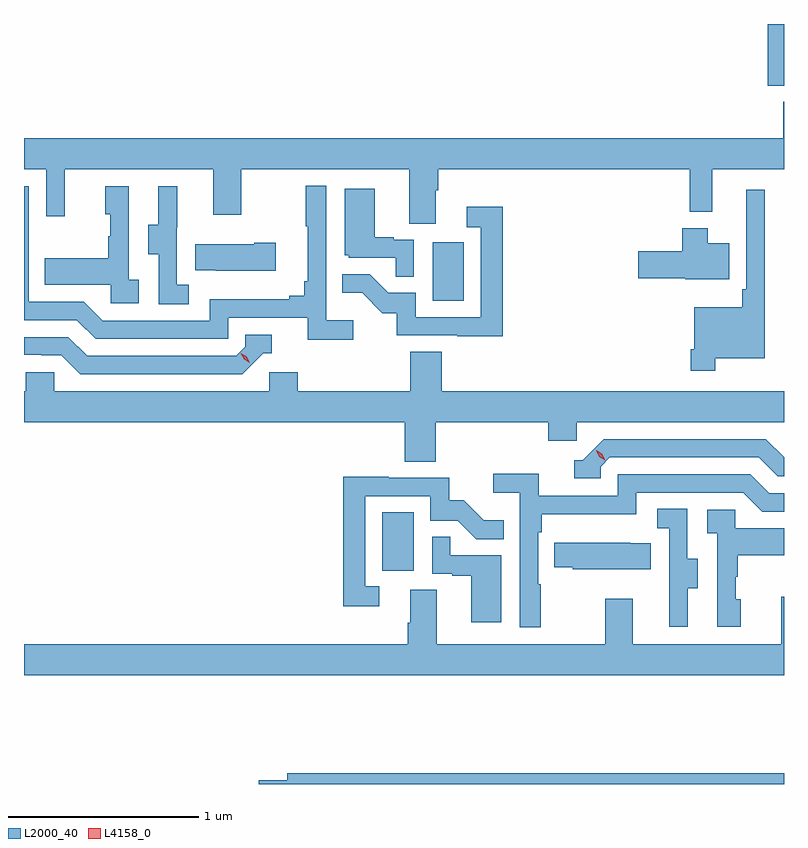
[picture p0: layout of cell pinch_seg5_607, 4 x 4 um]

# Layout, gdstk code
import gdstk
lib = gdstk.Library(unit=1e-6, precision=1e-09)
def R(c, l, rs):  # rectangles x0, y0, x1, y1
    for r in rs: c.add(gdstk.rectangle(r[:2], r[2:], *l))
def P(c, l, *ps):  # polygons
    for p in ps: c.add(gdstk.Polygon(p, *l))
L2000_40 = (2000, 40)
L4158_0 = (4158, 0)

pinch_seg5_607 = lib.new_cell('pinch_seg5_607')
R(pinch_seg5_607, L2000_40, [(1020.464,859.974,1020.628,860.281), (1020.728,861.396,1020.892,861.703)])
P(pinch_seg5_607, L2000_40, [(1022.578,862.852),(1022.034,862.852),(1022.034,862.85),(1022.492,862.85),(1022.492,862.527),(1022.578,862.527)],
  [(1020.745,861.976),(1020.758,861.976),(1020.758,862.088),(1022.083,862.088),(1022.083,861.863),(1022.201,861.863),(1022.201,862.088),(1022.578,862.088),(1022.578,862.442),(1022.573,862.442),(1022.573,862.252),(1018.578,862.252),(1018.578,862.088),(1018.695,862.088),(1018.695,861.84),(1018.793,861.84),(1018.793,862.088),(1019.573,862.088),(1019.573,861.849),(1019.721,861.849),(1019.721,862.088),(1020.605,862.088),(1020.605,861.802),(1020.745,861.802)],
  [(1020.31,861.292),(1020.168,861.292),(1020.168,862),(1020.06,862),(1020.06,861.787),(1020.071,861.787),(1020.071,861.499),(1020.052,861.499),(1020.052,861.422),(1019.975,861.422),(1019.975,861.403),(1019.556,861.403),(1019.556,861.291),(1018.992,861.291),(1018.893,861.39),(1018.602,861.39),(1018.602,861.999),(1018.578,861.999),(1018.578,861.294),(1018.856,861.294),(1018.955,861.195),(1019.652,861.195),(1019.652,861.306),(1020.071,861.306),(1020.071,861.19),(1020.31,861.19)],
  [(1019.182,861.506),(1019.13,861.506),(1019.13,861.997),(1019.006,861.997),(1019.006,861.852),(1019.032,861.852),(1019.032,861.734),(1019.022,861.734),(1019.022,861.619),(1018.687,861.619),(1018.687,861.479),(1019.034,861.479),(1019.034,861.381),(1019.182,861.381)],
  [(1019.446,861.479),(1019.382,861.479),(1019.382,861.783),(1019.384,861.783),(1019.384,861.997),(1019.285,861.997),(1019.285,861.795),(1019.231,861.795),(1019.231,861.64),(1019.286,861.64),(1019.286,861.376),(1019.446,861.376)],
  [(1020.63,861.717),(1020.524,861.717),(1020.524,861.73),(1020.424,861.73),(1020.424,861.985),(1020.266,861.985),(1020.266,861.636),(1020.288,861.636),(1020.288,861.621),(1020.535,861.621),(1020.535,861.523),(1020.63,861.523)],
  [(1022.215,861.092),(1022.476,861.092),(1022.476,861.979),(1022.379,861.979),(1022.379,861.457),(1022.359,861.457),(1022.359,861.361),(1022.106,861.361),(1022.106,861.139),(1022.086,861.139),(1022.086,861.027),(1022.215,861.027)],
  [(1021.097,861.889),(1020.909,861.889),(1020.909,861.783),(1020.981,861.783),(1020.981,861.309),(1020.639,861.309),(1020.639,861.438),(1020.495,861.438),(1020.397,861.536),(1020.253,861.536),(1020.253,861.437),(1020.357,861.437),(1020.464,861.33),(1020.541,861.33),(1020.541,861.213),(1020.859,861.213),(1020.859,861.208),(1021.097,861.208)],
  [(1022.29,861.697),(1022.176,861.697),(1022.176,861.778),(1022.042,861.778),(1022.042,861.657),(1021.812,861.657),(1021.812,861.515),(1022.058,861.515),(1022.058,861.509),(1022.29,861.509)],
  [(1019.902,861.702),(1019.789,861.702),(1019.789,861.694),(1019.479,861.694),(1019.479,861.557),(1019.587,861.557),(1019.587,861.554),(1019.902,861.554)],
  [(1019.838,861.12),(1019.881,861.12),(1019.881,861.216),(1019.742,861.216),(1019.742,861.153),(1019.694,861.105),(1018.911,861.105),(1018.812,861.204),(1018.578,861.204),(1018.578,861.111),(1018.668,861.111),(1018.668,861.108),(1018.775,861.108),(1018.874,861.009),(1019.727,861.009)],
  [(1020.776,861.128),(1020.611,861.128),(1020.611,860.92),(1020.02,860.92),(1020.02,861.018),(1019.868,861.018),(1019.868,860.92),(1018.737,860.92),(1018.737,861.018),(1018.587,861.018),(1018.587,860.92),(1018.578,860.92),(1018.578,860.756),(1020.581,860.756),(1020.581,860.548),(1020.746,860.548),(1020.746,860.756),(1021.337,860.756),(1021.337,860.658),(1021.488,860.658),(1021.488,860.756),(1022.578,860.756),(1022.578,860.92),(1020.776,860.92)],
  [(1021.614,860.523),(1021.662,860.571),(1022.445,860.571),(1022.544,860.472),(1022.578,860.472),(1022.578,860.571),(1022.482,860.667),(1021.629,860.667),(1021.518,860.556),(1021.475,860.556),(1021.475,860.46),(1021.614,860.46)],
  [(1021.297,859.904),(1021.284,859.904),(1021.284,860.177),(1021.304,860.177),(1021.304,860.273),(1021.8,860.273),(1021.8,860.385),(1022.364,860.385),(1022.463,860.286),(1022.578,860.286),(1022.578,860.382),(1022.5,860.382),(1022.401,860.481),(1021.704,860.481),(1021.704,860.37),(1021.286,860.37),(1021.286,860.486),(1021.047,860.486),(1021.047,860.384),(1021.188,860.384),(1021.188,859.677),(1021.297,859.677)],
  [(1020.448,859.893),(1020.375,859.893),(1020.375,860.367),(1020.717,860.367),(1020.717,860.238),(1020.861,860.238),(1020.959,860.14),(1021.103,860.14),(1021.103,860.239),(1020.999,860.239),(1020.892,860.346),(1020.816,860.346),(1020.816,860.463),(1020.497,860.463),(1020.497,860.468),(1020.259,860.468),(1020.259,859.788),(1020.448,859.788)],
  [(1022.071,859.882),(1022.125,859.882),(1022.125,860.037),(1022.07,860.037),(1022.07,860.3),(1021.911,860.3),(1021.911,860.197),(1021.974,860.197),(1021.974,859.893),(1021.973,859.893),(1021.973,859.68),(1022.071,859.68)],
  [(1022.35,859.824),(1022.325,859.824),(1022.325,859.943),(1022.335,859.943),(1022.335,860.057),(1022.578,860.057),(1022.578,860.197),(1022.322,860.197),(1022.322,860.295),(1022.175,860.295),(1022.175,860.171),(1022.226,860.171),(1022.226,859.68),(1022.35,859.68)],
  [(1021.09,860.055),(1020.821,860.055),(1020.821,860.153),(1020.726,860.153),(1020.726,859.959),(1020.833,859.959),(1020.833,859.947),(1020.932,859.947),(1020.932,859.704),(1021.09,859.704)],
  [(1021.877,860.119),(1021.769,860.119),(1021.769,860.122),(1021.369,860.122),(1021.369,859.993),(1021.467,859.993),(1021.467,859.982),(1021.877,859.982)],
  [(1022.578,859.837),(1022.564,859.837),(1022.564,859.588),(1021.783,859.588),(1021.783,859.828),(1021.636,859.828),(1021.636,859.588),(1020.751,859.588),(1020.751,859.874),(1020.611,859.874),(1020.611,859.7),(1020.599,859.7),(1020.599,859.588),(1018.578,859.588),(1018.578,859.424),(1022.578,859.424)],
  [(1022.578,858.908),(1019.963,858.908),(1019.963,858.872),(1019.814,858.872),(1019.814,858.852),(1022.578,858.852)])
P(pinch_seg5_607, L4158_0, [(1021.637,860.556),(1021.606,860.575),(1021.589,860.608),(1021.589,860.608),(1021.59,860.608),(1021.62,860.589),(1021.637,860.556),(1021.637,860.556)],
  [(1019.767,861.068),(1019.736,861.088),(1019.719,861.12),(1019.719,861.12),(1019.72,861.12),(1019.751,861.101),(1019.767,861.069),(1019.767,861.068)])

lib.write_gds('pinch_seg5_607.gds')
